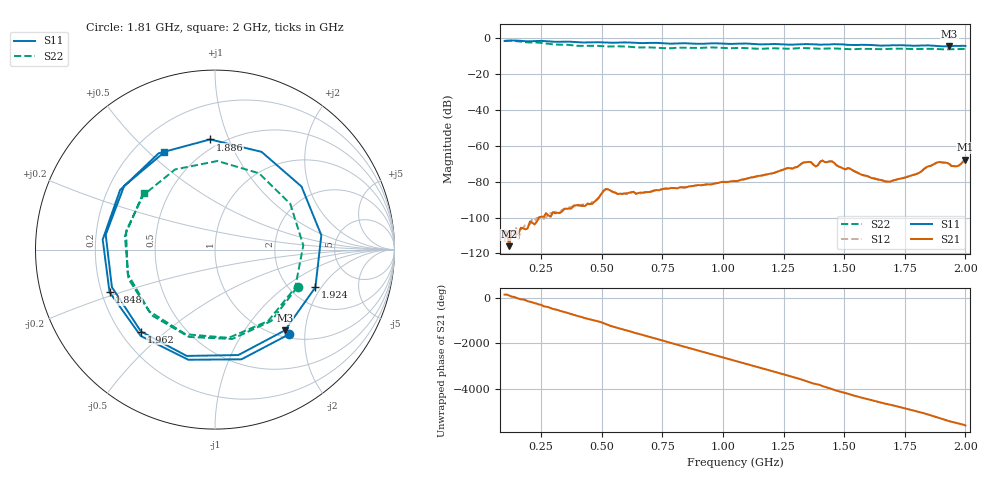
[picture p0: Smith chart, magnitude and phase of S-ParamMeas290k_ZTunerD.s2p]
!Keysight Technologies,N5242B,MY48420967,A.15.65.19
!Date: Thursday, December 22, 2022 14:19:06
!Correction: S11(C  2-Port  )
!S21(C  2-Port  )
!S12(C  2-Port  )
!S22(C  2-Port  )
!S2P File: Measurements: S11, S21, S12, S22:
# Hz S  dB  R 50
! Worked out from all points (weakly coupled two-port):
!   201 points, 100 MHz to 2 GHz, reference 50 ohm
!   highest |S21| = -67.63 dB at 2 GHz (marker M1); lowest = -116.0 dB at 119 MHz (marker M2)
!   lowest |S11| = -4.5 dB at 1.933 GHz (marker M3), VSWR 3.94, Z = 56.1 - j78.2 ohm
!   |S11| at or under -10 dB: nowhere
!   |S22| runs from -6.2 to -1.4 dB; largest |S21 - S12| = 4.9e-06
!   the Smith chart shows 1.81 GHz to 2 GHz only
!   S11 on the Smith chart (normalised r, x): 1.81 GHz: 1.07, -1.66; 1.848 GHz: 0.23, -0.18; 1.886 GHz: 0.43, +0.86; 1.924 GHz: 2.70, -1.76; 1.962 GHz: 0.28, -0.41; 2 GHz: 0.32, +0.56
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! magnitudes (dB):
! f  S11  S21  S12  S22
! 100 MHz  -1.5  -107.3  -113.3  -1.4
! 119 MHz  -1.2  -116.0  -114.3  -1.4
! 423 MHz  -2.3  -93.5  -92.7  -4.2
! 736.5 MHz  -2.6  -84.8  -84.5  -5.3
! 1.05 GHz  -3.0  -79.7  -79.6  -5.5
! 1.288 GHz  -3.5  -72.7  -72.7  -5.8
! 1.335 GHz  -3.2  -69.1  -69.2  -5.5
! 1.363 GHz  -3.3  -69.1  -69.1  -5.6
! 1.373 GHz  -3.4  -70.5  -70.4  -5.6
! 1.383 GHz  -3.4  -71.5  -71.5  -5.7
! 1.411 GHz  -3.5  -68.2  -68.2  -5.8
! 1.449 GHz  -3.3  -68.6  -68.6  -5.6
! 1.496 GHz  -3.4  -72.7  -72.6  -5.9
! 1.516 GHz  -3.7  -72.4  -72.4  -6.0
! 1.687 GHz  -4.0  -80.1  -79.8  -5.9
! 1.81 GHz  -4.1  -75.0  -75.1  -5.9
! 1.848 GHz  -4.0  -71.4  -71.5  -5.9
! 1.886 GHz  -4.2  -69.1  -69.1  -6.0
! 1.924 GHz  -4.5  -69.5  -69.4  -6.2
! 1.933 GHz  -4.5  -70.1  -70.0  -6.1
! 1.962 GHz  -4.2  -71.4  -71.4  -6.0
! 2 GHz  -4.3  -67.6  -67.6  -5.9
